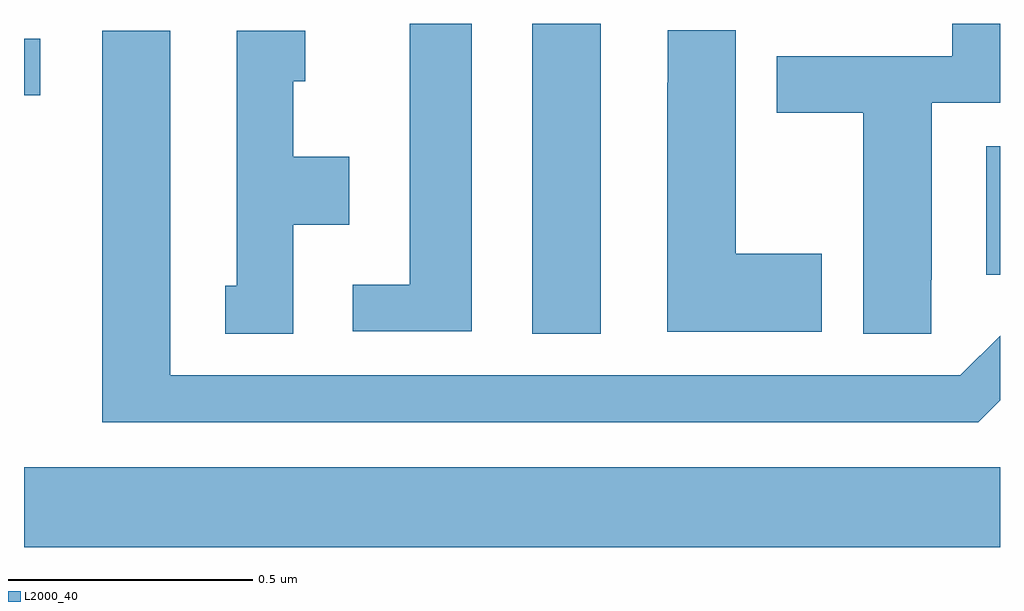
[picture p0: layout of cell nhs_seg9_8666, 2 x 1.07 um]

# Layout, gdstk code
import gdstk
lib = gdstk.Library(unit=1e-6, precision=1e-09)
def R(c, l, rs):  # rectangles x0, y0, x1, y1
    for r in rs: c.add(gdstk.rectangle(r[:2], r[2:], *l))
def P(c, l, *ps):  # polygons
    for p in ps: c.add(gdstk.Polygon(p, *l))
L2000_40 = (2000, 40)

nhs_seg9_8666 = lib.new_cell('nhs_seg9_8666')
R(nhs_seg9_8666, L2000_40, [(220,1188.428,222,1188.592), (221.042,1188.865,221.182,1189.5), (221.972,1188.986,222,1189.249), (220,1189.354,220.033,1189.47)])
P(nhs_seg9_8666, L2000_40, [(220.918,1189.5),(220.79,1189.5),(220.79,1188.966),(220.674,1188.966),(220.674,1188.87),(220.918,1188.87)],
  [(221.859,1188.976),(221.86,1188.976),(221.86,1189.338),(222,1189.338),(222,1189.5),(221.902,1189.5),(221.902,1189.434),(221.543,1189.434),(221.543,1189.318),(221.72,1189.318),(221.72,1188.865),(221.859,1188.865)],
  [(221.635,1189.029),(221.458,1189.029),(221.458,1189.487),(221.319,1189.487),(221.319,1189.379),(221.318,1189.379),(221.318,1188.869),(221.635,1188.869)],
  [(222,1188.729),(222,1188.861),(221.919,1188.78),(220.3,1188.78),(220.3,1189.486),(220.16,1189.486),(220.16,1188.684),(221.955,1188.684)],
  [(220.552,1189.088),(220.666,1189.088),(220.666,1189.228),(220.552,1189.228),(220.552,1189.383),(220.576,1189.383),(220.576,1189.486),(220.436,1189.486),(220.436,1188.963),(220.412,1188.963),(220.412,1188.865),(220.552,1188.865)])

lib.write_gds('nhs_seg9_8666.gds')
